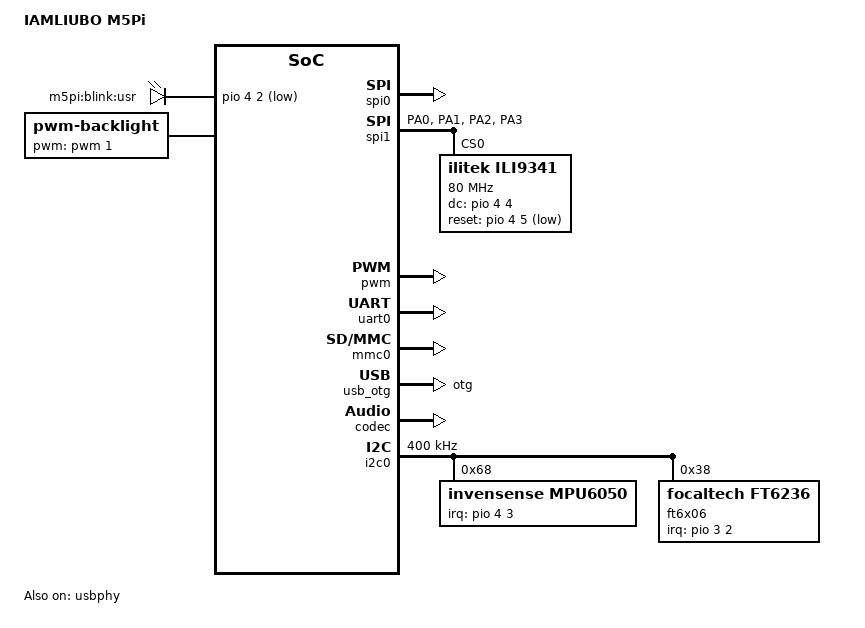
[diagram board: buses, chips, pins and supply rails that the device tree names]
// SPDX-License-Identifier: (GPL-2.0+ OR X11)

/dts-v1/;
#include "suniv-f1c100s.dtsi"

/ {
	model = "IAMLIUBO M5Pi";
	compatible = "allwinner,suniv-f1c100s";

	chosen {
		#address-cells = <1>;
		#size-cells = <1>;
		ranges;

		bootargs = "console=ttyS0,115200 earlyprintk rootwait init=/preinit root=/dev/mmcblk0p3 rw rootfstype=ext4";
		// bootargs = "console=tty0 init=/preinit root=/dev/mmcblk0p3 rw rootfstype=ext4";
	};

	leds {
		compatible = "gpio-leds";

		blink {
			label = "m5pi:blink:usr";
			gpios = <&pio 4 2 GPIO_ACTIVE_LOW>; /* PE2 */
			linux,default-trigger = "heartbeat";
			default-state = "on";
		};

	};

	backlight {
		compatible = "pwm-backlight";
		pwms = <&pwm 1 500000 0>;  /* pwm1 PE6 */
		brightness-levels = <0 4 8 16 32 64 128 255>;
		default-brightness-level = <0>;
	};
};

&pio {
	spi1_pins: spi1-pins{
		pins = "PA0","PA1","PA2","PA3";
		function = "spi1";
		bias-pull-up;
	};
};

&spi0 {
        pinctrl-names = "default";
        pinctrl-0 = <&spi0_pins>;
        status = "okay";
};

&spi1 {
	status = "okay";
	pinctrl-names = "default";
	pinctrl-0 = <&spi1_pins>;

    ili9341@0 {
        compatible = "ilitek,ili9341";
		spi-max-frequency = <80000000>;
		#address-cells = <1>;
		#size-cells = <1>;
		reg = <0>;
		rotate = <0>;
		spi-cpol;
		spi-cpha;
		bgr;
		fps = <30>;
		buswidth = <8>;
		dc-gpios = <&pio 4 4 GPIO_ACTIVE_HIGH>;     /* PE4 */
		reset-gpios = <&pio 4 5 GPIO_ACTIVE_LOW>;   /* PE5 */
		debug = <0>;
    };
};

&reg_vcc3v0 {
	status = "disabled";
};

&reg_vcc5v0 {
	status = "disabled";
};

&pwm {
	pinctrl-names = "default";
	pinctrl-0 = <&pwm1_pe_pins>;
	status = "okay";
};

&uart0 {
	pinctrl-names = "default";
	pinctrl-0 = <&uart0_pe_pins>;
	status = "okay";
};

&mmc0 {
	status = "okay";
	broken-cd;
};

&otg_sram {
	status = "okay";
};

&usb_otg {
	dr_mode = "otg"; /* otg host peripheral */
	status = "okay";
};

&usbphy {
	dr_mode = "host";
	status = "okay";
};

&codec {
	allwinner,audio-routing =
		"Headphone", "HP",
		"Headphone", "HPCOM",
		"LINEIN", "Line In",
		"FMINL", "Left FM In",
		"FMINR", "Right FM In",
		"MIC", "Mic";
	status = "okay";
};

&i2c0 {
	pinctrl-names = "default";
	pinctrl-0 = <&i2c0_pe_pins>;
	clock-frequency = <400000>;
	status = "okay";

	mpu6050: mpu6050@68 {
		compatible = "invensense,mpu6050";
		reg = <0x68>;
		interrupt-parent = <&pio>;
		interrupts = <4 3 IRQ_TYPE_EDGE_FALLING>;  /* PE3 */
		status = "okay";
	};

	ft6x06@38 {
		compatible = "focaltech,ft6236";
		reg = <0x38>;
		interrupt-parent = <&pio>;
		interrupts = <3 2 IRQ_TYPE_LEVEL_LOW>;      /* PD2 */
		touchscreen-size-x = <320>;
		touchscreen-size-y = <240>;
		status = "okay";
	};

};
